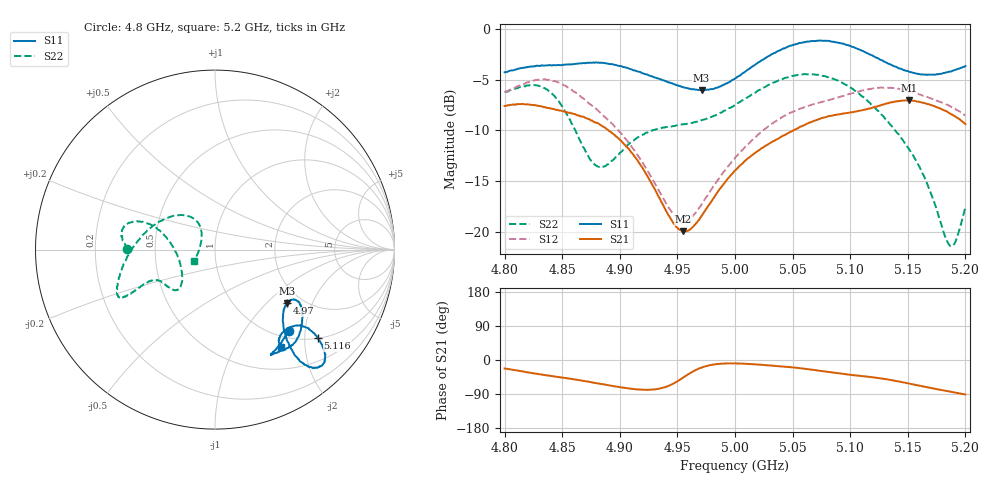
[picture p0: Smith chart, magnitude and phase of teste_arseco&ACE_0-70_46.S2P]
! Network Analyzer HP8722D
! Hewlett-Packard
! Data name: Linha & Wilkinson
! Saver's name: Rodrigo Anjos
! Comments: Teste da utilização de aquisição
! continua pelo VNA HP8722D
! Time and date: 8/5/2025 13:08
!  Frequency  S11  S21  S12  S22
# HZ  S  MA R 50
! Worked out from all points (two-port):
!   401 points, 4.8 GHz to 5.2 GHz, reference 50 ohm
!   highest |S21| = -7.03 dB at 5.151 GHz (marker M1); lowest = -20.0 dB at 4.955 GHz (marker M2)
!   |S21| within 3 dB of the highest: start of sweep to 4.89 GHz; 5.05 GHz to end of sweep
!   lowest |S11| = -6.0 dB at 4.971 GHz (marker M3), VSWR 2.99, Z = 83.7 - j66.4 ohm
!   |S11| at or under -10 dB: nowhere
!   |S22| runs from -21.4 to -4.4 dB; largest |S21 - S12| = 0.95
!   S11 on the Smith chart (normalised r, x): 4.8 GHz: 1.13, -1.64; 4.97 GHz: 1.68, -1.34; 5.116 GHz: 1.01, -2.31; 5.2 GHz: 0.82, -1.57
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4.8e9  0.613 -47.9  0.4176 -22.5  0.4889 -176.3  0.4898 179.5
4.821e9  0.6517 -58.9  0.4251 -33.2  0.5476 176.0  0.5275 170.7
4.837e9  0.6625 -61.7  0.4082 -40.8  0.5619 166.5  0.5031 162.8
4.851e9  0.6669 -59.9  0.393 -46.8  0.5302 158.0  0.4063 158.9
4.867e9  0.6772 -55.1  0.3703 -54.5  0.4592 149.9  0.2712 167.5
4.885e9  0.6826 -48.9  0.3314 -63.7  0.3778 144.1  0.2087 -159.4
4.908e9  0.6381 -41.1  0.2555 -75.2  0.2737 137.6  0.271 -134.0
4.934e9  0.5691 -33.2  0.1478 -75.8  0.1593 141.5  0.3219 -135.8
4.955e9  0.5175 -32.3  0.1004 -46.4  0.1124 171.7  0.3388 -144.5
4.97e9  0.502 -36.5  0.1175 -21.2  0.1335 -163.0  0.3528 -150.4
4.971e9  0.4988 -36.7  0.1195 -20.1  0.1366 -161.9  0.3556 -151.0
5e9  0.5706 -48.1  0.2002 -9.1  0.2314 -147.2  0.4243 -153.9
5.039e9  0.7863 -52.6  0.2915 -16.4  0.362 -148.5  0.5614 -152.3
5.067e9  0.8747 -48.5  0.3501 -25.7  0.4249 -155.0  0.5985 -155.5
5.094e9  0.8483 -43.5  0.3833 -37.0  0.468 -162.5  0.5402 -166.4
5.116e9  0.7548 -40.7  0.4053 -44.5  0.506 -172.8  0.4375 174.7
5.134e9  0.6733 -40.4  0.4337 -51.9  0.5125 176.6  0.3422 152.2
5.151e9  0.6173 -43.3  0.4454 -62.2  0.4942 167.0  0.2562 131.6
5.167e9  0.5947 -48.9  0.4268 -72.3  0.4623 160.0  0.1717 122.0
5.186e9  0.617 -54.6  0.3852 -83.1  0.4192 153.3  0.08595 156.9
5.191e9  0.6284 -55.4  0.3712 -85.8  0.4057 151.8  0.08812 -179.6
5.2e9  0.6581 -55.8  0.3401 -90.9  0.3754 149.0  0.1317 -151.0
